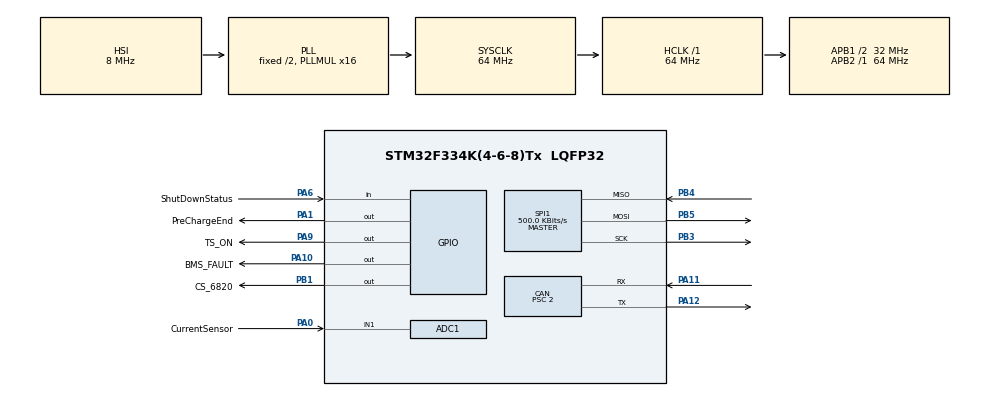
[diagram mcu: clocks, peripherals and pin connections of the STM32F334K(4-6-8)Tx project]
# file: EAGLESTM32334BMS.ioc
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Mcu.Family=STM32F3
RCC.CortexFreq_Value=64000000
SPI1.VirtualType=VM_MASTER
ADC1.ContinuousConvMode=ENABLE
NVIC.CAN_RX0_IRQn=true\:0\:0\:false\:false\:true\:true\:true
RCC.SYSCLKSourceVirtual=RCC_SYSCLKSOURCE_PLLCLK
PA0.GPIO_Label=CurrentSensor
PA11.Mode=CAN_Activate
PA6.GPIO_Label=ShutDownStatus
CAN.SJW=CAN_SJW_1TQ
PA11.GPIO_PuPd=GPIO_PULLUP
ProjectManager.StackSize=0x800
PA12.Signal=CAN_TX
CAN.Prescaler=2
SPI1.CLKPolarity=SPI_POLARITY_LOW
ADC1.Offset-0\#ChannelRegularConversion=0
SPI1.Direction=SPI_DIRECTION_2LINES
RCC.HCLKFreq_Value=64000000
RCC.APB2TimFreq_Value=64000000
Dma.ADC1.0.Direction=DMA_PERIPH_TO_MEMORY
SPI1.CalculateBaudRate=500.0 KBits/s
ADC1.SubFamily=STM32F334x8
Dma.ADC1.0.MemDataAlignment=DMA_MDATAALIGN_WORD
RCC.AHBFreq_Value=64000000
ADC1.Channel-0\#ChannelRegularConversion=ADC_CHANNEL_1
RCC.HSE_VALUE=8000000
PB3.Mode=Full_Duplex_Master
RCC.PLLMUL=RCC_PLL_MUL16
PA6.GPIO_PuPd=GPIO_PULLUP
PB4.Mode=Full_Duplex_Master
PB1.GPIO_Speed=GPIO_SPEED_FREQ_HIGH
PA14.Mode=Serial_Wire
PB1.GPIO_Label=CS_6820
Dma.ADC1.0.PeriphInc=DMA_PINC_DISABLE
PB5.Mode=Full_Duplex_Master
SPI1.DataSize=SPI_DATASIZE_8BIT
PA10.GPIO_Label=BMS_FAULT
PA0.Mode=IN1-Single-Ended
CAN.CalculateTimeQuantum=62.5
ADC1.SamplingTime-0\#ChannelRegularConversion=ADC_SAMPLETIME_601CYCLES_5
PA0.Signal=ADC1_IN1
PB1.PinState=GPIO_PIN_SET
Mcu.Package=LQFP32
PA6.Signal=GPIO_Input
PB1.Signal=GPIO_Output
ADC1.EnableInjectedConversion=DISABLE
PA10.Signal=GPIO_Output
RCC.APB1TimFreq_Value=64000000
CAN.AWUM=ENABLE
PA12.GPIO_PuPd=GPIO_PULLUP
Dma.Request0=ADC1
SPI1.BaudRatePrescaler=SPI_BAUDRATEPRESCALER_128
PB4.Signal=SPI1_MISO
NVIC.CAN_TX_IRQn=true\:0\:0\:false\:false\:true\:true\:true
NVIC.CAN_RX1_IRQn=true\:0\:0\:false\:false\:true\:true\:true
Dma.ADC1.0.Instance=DMA1_Channel1
ADC1.Rank-0\#ChannelRegularConversion=1
ADC1.OffsetNumber-0\#ChannelRegularConversion=ADC_OFFSET_NONE
CAN.CalculateBaudRate=727272
PA9.GPIO_Label=TS_ON
TIM6.Prescaler=32000
VP_TIM6_VS_ClockSourceINT.Mode=Enable_Timer
RCC.APB1CLKDivider=RCC_HCLK_DIV2
CAN.CalculateTimeBit=1375.00
PA13.Signal=SYS_JTMS-SWDIO
Dma.ADC1.0.PeriphDataAlignment=DMA_PDATAALIGN_WORD
CAN.BS2=CAN_BS2_5TQ
CAN.BS1=CAN_BS1_16TQ
ProjectManager.TargetToolchain=Makefile
Dma.ADC1.0.Mode=DMA_CIRCULAR
Dma.ADC1.0.Priority=DMA_PRIORITY_HIGH
PA9.Signal=GPIO_Output
PA1.Signal=GPIO_Output
board=EAGLESTM32334BMS
RCC.APB2Freq_Value=64000000
SPI1.Mode=SPI_MODE_MASTER
PA1.GPIO_Label=PreChargeEnd
TIM6.TIM_MasterOutputTrigger=TIM_TRGO_RESET
ADC1.DMAContinuousRequests=ENABLE
ADC1.NbrOfConversion=1
PA13.Mode=Serial_Wire
Mcu.Name=STM32F334K(4-6-8)Tx
SPI1.NSSPMode=SPI_NSS_PULSE_ENABLE
PB3.Signal=SPI1_SCK
RCC.SYSCLKFreq_VALUE=64000000
PB5.Signal=SPI1_MOSI
ADC1.master=1
PA12.Mode=CAN_Activate
PA11.Signal=CAN_RX
PA14.Signal=SYS_JTCK-SWCLK
Dma.ADC1.0.MemInc=DMA_MINC_ENABLE
ProjectManager.HeapSize=0x400
RCC.HSI_VALUE=8000000
NVIC.PriorityGroup=NVIC_PRIORITYGROUP_4
ADC1.NbrOfConversionFlag=1
NVIC.DMA1_Channel1_IRQn=true\:0\:0\:false\:false\:true\:false\:true
RCC.APB1Freq_Value=32000000
ADC1.ClockPrescaler=ADC_CLOCK_SYNC_PCLK_DIV4
NVIC.CAN_SCE_IRQn=true\:0\:0\:false\:false\:true\:true\:true

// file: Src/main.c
/* USER CODE BEGIN Header */
/**
 * @file		main.c
 *
 * @author	Gregor
 * @author	Matteo Bonora [matteo.bonora@studenti.unitn.it]
 */
/* USER CODE END Header */
#include "main.h"
#include "adc.h"
#include "can.h"
#include "dma.h"
#include "spi.h"
#include "tim.h"
#include "gpio.h"

/* USER CODE BEGIN Includes */
#include "can_comm.h"
#include "chg.h"
#include "chimera_config.h"
#include "error.h"
#include "fsm_bms.h"
/* USER CODE END Includes */

/* USER CODE BEGIN PD */
#define TEMPS_READ_INTERVAL 200
#define VOLTS_READ_INTERVAL 40
/* USER CODE END PD */

/* USER CODE BEGIN PV */
ERROR_T error;
uint8_t error_index;

uint32_t timer_volts = 0;
uint32_t timer_temps = 0;
/* USER CODE END PV */

void SystemClock_Config(void);

/* USER CODE BEGIN 0 */

void check_timers() {
	uint32_t tick = HAL_GetTick();
	// Read and send temperatures
	if (tick - timer_temps >= TEMPS_READ_INTERVAL) {
		timer_temps = tick;

		read_temps();
		ER_CHK(&error);

		// Delay voltage measurement to avoid interferences
		timer_volts = HAL_GetTick() - (VOLTS_READ_INTERVAL / 2);
	}

	// Read and send voltages and current
	if (tick - timer_volts >= VOLTS_READ_INTERVAL) {
		timer_volts = tick;

		read_volts();
		if (CHARGING) {
			// TODO: safety checks
			fsm_run(&fsm_chg);
			uint8_t state = fsm_get_state(&fsm_chg);
			can_send_chg_state(state);
		}
		ER_CHK(&error);
	}

End:;
}

/**
 * @brief Runs all the checks mandated by the rules
 * @details It runs voltage and current measurements
 */
void read_volts() {
	// Voltages
	WARNING_T warning = WARN_OK;

	// error_index = pack_update_voltages(&hspi1, &pack, &warning, &error);
	// ER_CHK(&error);

	if (warning != WARN_OK) {
		can_send_warning(warning, 0);
	}

	// Current
	pack_update_current(&pack.current, &error);
	ER_CHK(&error);

	// Update total values
	can_send_current(pack.current.value, pack.total_voltage);
	can_send_pack_voltage(pack);

End:;
}

void read_temps() {
	// Temperatures
	error_index = pack_update_temperatures(&hspi1, &pack, &error);
	ER_CHK(&error);

	can_send_pack_temperature(pack);

	// Check for not healthy cells
	uint8_t volts[PACK_MODULE_COUNT];
	uint8_t num_cells = pack_check_voltage_drops(&pack, volts);

	uint8_t i;
	for (i = 0; i < num_cells; i++) {
		can_send_warning(WARN_CELL_DROPPING, volts[i]);
	}

End:;
}
/* USER CODE END 0 */

int main(void)
{

  /* MCU Configuration--------------------------------------------------------*/

  /* Reset of all peripherals, Initializes the Flash interface and the Systick. */
  HAL_Init();

  /* Configure the system clock */
  SystemClock_Config();

  /* Initialize all configured peripherals */
  MX_GPIO_Init();
  MX_DMA_Init();
  MX_SPI1_Init();
  MX_ADC1_Init();
  MX_CAN_Init();
  MX_TIM6_Init();
  /* USER CODE BEGIN 2 */
	// fsm_bms_init(&fsm_bms);

  /* USER CODE END 2 */

  /* Infinite loop */
	while (1) {

    /* USER CODE BEGIN 3 */
		// fsm_run(&fsm_bms);

		// if (can_check_error(&hcan)) {
		//  error_set(ERROR_CAN, &can_error, HAL_GetTick());
		//} else {
		//  error_unset(ERROR_CAN, &can_error);
		//}

		// error = error_check_fatal(&can_error, HAL_GetTick());
		// ER_CHK(&error);

		check_timers();
		ER_CHK(&error);

		error_index = pack_check_errors(&pack, &error);
		ER_CHK(&error);

	End:;

		// switch (can_rx.StdId) {}

		// Check precharge timeout
		/*if (bms.status == BMS_PRECHARGE) {
				switch (bms_precharge_check(&bms)) {
						case BMS_ON:
								// Used when bypassing precharge
								can_send(&hcan, CAN_ID_BMS, CAN_MSG_TS_ON,
		8); HAL_CAN_ConfigFilter(&hcan, &CAN_FILTER_NORMAL);

								break;
						case BMS_OFF:
								// Precharge timed out
								HAL_CAN_ConfigFilter(&hcan,
		&CAN_FILTER_NORMAL); can_send_warning(&hcan, WARN_PRECHARGE_FAIL,
		0); break; case BMS_PRECHARGE:
								// If precharge is still running, send the
		bus voltage
								// request
								if (HAL_GetTick() - timer_precharge >= 20) {
										timer_precharge = HAL_GetTick();
										can_send(&hcan,
		CAN_ID_OUT_INVERTER_L, CAN_MSG_INVERTER_VOLTAGE, 8);
								}
								break;
						default:
								break;
				}
		}*/
	}
	return 0;

  /* USER CODE END 3 */
}

void SystemClock_Config(void)
{
  RCC_OscInitTypeDef RCC_OscInitStruct = {0};
  RCC_ClkInitTypeDef RCC_ClkInitStruct = {0};

  /** Initializes the RCC Oscillators according to the specified parameters
  * in the RCC_OscInitTypeDef structure.
  */
  RCC_OscInitStruct.OscillatorType = RCC_OSCILLATORTYPE_HSI;
  RCC_OscInitStruct.HSIState = RCC_HSI_ON;
  RCC_OscInitStruct.HSICalibrationValue = RCC_HSICALIBRATION_DEFAULT;
  RCC_OscInitStruct.PLL.PLLState = RCC_PLL_ON;
  RCC_OscInitStruct.PLL.PLLSource = RCC_PLLSOURCE_HSI;
  RCC_OscInitStruct.PLL.PLLMUL = RCC_PLL_MUL16;
  if (HAL_RCC_OscConfig(&RCC_OscInitStruct) != HAL_OK)
  {
    Error_Handler();
  }
  /** Initializes the CPU, AHB and APB buses clocks
  */
  RCC_ClkInitStruct.ClockType = RCC_CLOCKTYPE_HCLK|RCC_CLOCKTYPE_SYSCLK
                              |RCC_CLOCKTYPE_PCLK1|RCC_CLOCKTYPE_PCLK2;
  RCC_ClkInitStruct.SYSCLKSource = RCC_SYSCLKSOURCE_PLLCLK;
  RCC_ClkInitStruct.AHBCLKDivider = RCC_SYSCLK_DIV1;
  RCC_ClkInitStruct.APB1CLKDivider = RCC_HCLK_DIV2;
  RCC_ClkInitStruct.APB2CLKDivider = RCC_HCLK_DIV1;

  if (HAL_RCC_ClockConfig(&RCC_ClkInitStruct, FLASH_LATENCY_2) != HAL_OK)
  {
    Error_Handler();
  }
}

void Error_Handler(void)
{
  /* USER CODE BEGIN Error_Handler_Debug */
	/* User can add his own implementation to report the HAL error
	 * return state
	 */
	while (1) {
	}
  /* USER CODE END Error_Handler_Debug */
}

#ifdef  USE_FULL_ASSERT
/**
  * @brief  Reports the name of the source file and the source line number
  *         where the assert_param error has occurred.
  * @param  file: pointer to the source file name
  * @param  line: assert_param error line source number
  * @retval None
  */
void assert_failed(uint8_t *file, uint32_t line)
{
  /* USER CODE BEGIN 6 */
	/* User can add his own implementation to report the file name and line
	   number, tex: printf("Wrong parameters value: file %s on line %d\r\n",
	   file, line) */
  /* USER CODE END 6 */
}
#endif /* USE_FULL_ASSERT */

/************************ (C) COPYRIGHT STMicroelectronics *****END OF FILE****/
